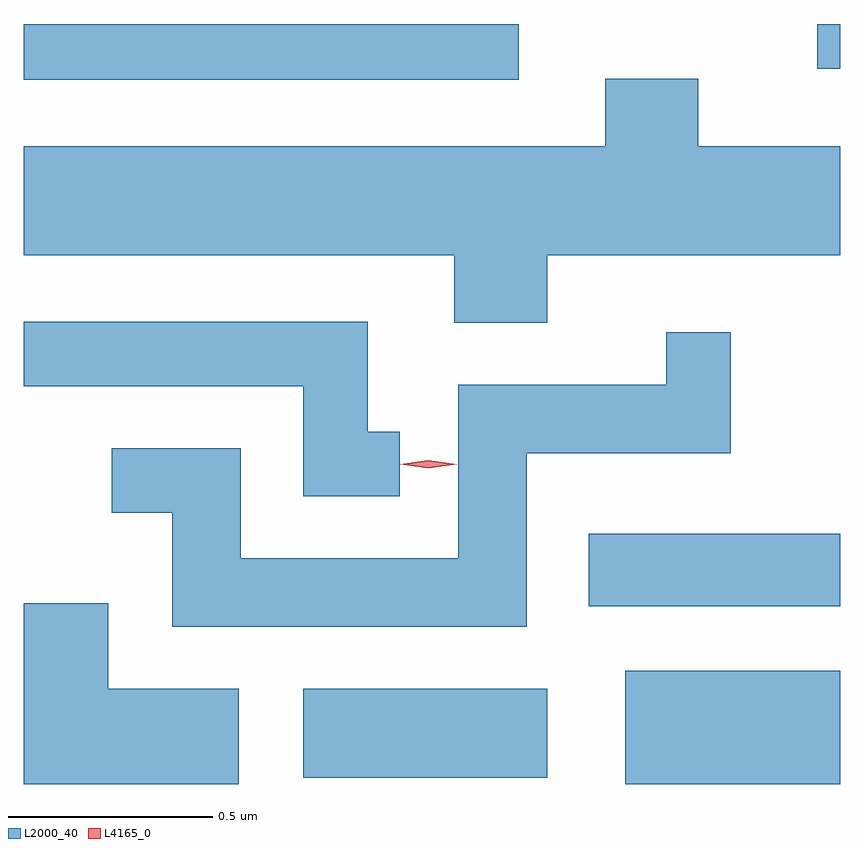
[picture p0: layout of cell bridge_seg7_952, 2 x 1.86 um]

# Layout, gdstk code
import gdstk
lib = gdstk.Library(unit=1e-6, precision=1e-09)
def R(c, l, rs):  # rectangles x0, y0, x1, y1
    for r in rs: c.add(gdstk.rectangle(r[:2], r[2:], *l))
def P(c, l, *ps):  # polygons
    for p in ps: c.add(gdstk.Polygon(p, *l))
L2000_40 = (2000, 40)
L4165_0 = (4165, 0)

bridge_seg7_952 = lib.new_cell('bridge_seg7_952')
R(bridge_seg7_952, L2000_40, [(552.061,1735.221,552.587,1735.499), (551.271,1735.236,551.869,1735.454), (551.971,1735.656,552.587,1735.834), (550.587,1736.946,551.799,1737.083), (552.531,1736.973,552.587,1737.083)])
P(bridge_seg7_952, L2000_40, [(551.869,1736.516),(552.587,1736.516),(552.587,1736.784),(552.239,1736.784),(552.239,1736.949),(552.011,1736.949),(552.011,1736.784),(550.587,1736.784),(550.587,1736.516),(551.641,1736.516),(551.641,1736.351),(551.869,1736.351)],
  [(551.508,1736.084),(551.429,1736.084),(551.429,1736.354),(550.587,1736.354),(550.587,1736.196),(551.271,1736.196),(551.271,1735.926),(551.508,1735.926)],
  [(551.819,1736.031),(552.319,1736.031),(552.319,1736.328),(552.161,1736.328),(552.161,1736.199),(551.651,1736.199),(551.651,1735.774),(551.119,1735.774),(551.119,1736.044),(550.803,1736.044),(550.803,1735.886),(550.951,1735.886),(550.951,1735.606),(551.819,1735.606)],
  [(551.114,1735.454),(550.794,1735.454),(550.794,1735.664),(550.587,1735.664),(550.587,1735.221),(551.114,1735.221)])
P(bridge_seg7_952, L4165_0, [(551.578,1735.994),(551.509,1736.004),(551.509,1736.004),(551.509,1736.005),(551.578,1736.014),(551.648,1736.005),(551.648,1736.004),(551.648,1736.004)])

lib.write_gds('bridge_seg7_952.gds')
